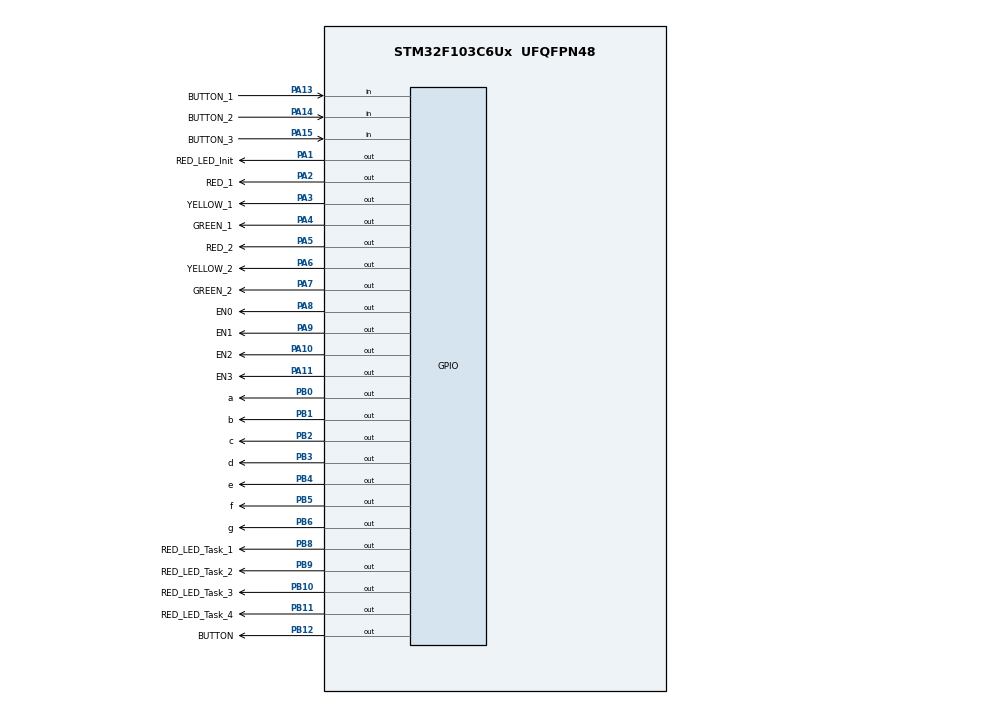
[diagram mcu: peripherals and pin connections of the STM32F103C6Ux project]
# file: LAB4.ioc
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Mcu.Family=STM32F1
Mcu.Name=STM32F103C6Ux
Mcu.Package=UFQFPN48
NVIC.PriorityGroup=NVIC_PRIORITYGROUP_4
NVIC.TIM2_IRQn=true\:0\:0\:false\:false\:true\:true\:true
PA1.GPIO_Label=RED_LED_Init
PA1.Signal=GPIO_Output
PA10.GPIO_Label=EN2
PA10.Signal=GPIO_Output
PA11.GPIO_Label=EN3
PA11.Signal=GPIO_Output
PA13.GPIO_Label=BUTTON_1
PA13.GPIO_PuPd=GPIO_PULLUP
PA13.Signal=GPIO_Input
PA14.GPIO_Label=BUTTON_2
PA14.GPIO_PuPd=GPIO_PULLUP
PA14.Signal=GPIO_Input
PA15.GPIO_Label=BUTTON_3
PA15.GPIO_PuPd=GPIO_PULLUP
PA15.Signal=GPIO_Input
PA2.GPIO_Label=RED_1
PA2.Signal=GPIO_Output
PA3.GPIO_Label=YELLOW_1
PA3.Signal=GPIO_Output
PA4.GPIO_Label=GREEN_1
PA4.Signal=GPIO_Output
PA5.GPIO_Label=RED_2
PA5.Signal=GPIO_Output
PA6.GPIO_Label=YELLOW_2
PA6.Signal=GPIO_Output
PA7.GPIO_Label=GREEN_2
PA7.Signal=GPIO_Output
PA8.GPIO_Label=EN0
PA8.Signal=GPIO_Output
PA9.GPIO_Label=EN1
PA9.Signal=GPIO_Output
PB0.GPIO_Label=a
PB0.Signal=GPIO_Output
PB1.GPIO_Label=b
PB1.Signal=GPIO_Output
PB10.GPIO_Label=RED_LED_Task_3
PB10.Signal=GPIO_Output
PB11.GPIO_Label=RED_LED_Task_4
PB11.Signal=GPIO_Output
PB12.GPIO_Label=BUTTON
PB12.Signal=GPIO_Output
PB2.GPIO_Label=c
PB2.Signal=GPIO_Output
PB3.GPIO_Label=d
PB3.Signal=GPIO_Output
PB4.GPIO_Label=e
PB4.Signal=GPIO_Output
PB5.GPIO_Label=f
PB5.Signal=GPIO_Output
PB6.GPIO_Label=g
PB6.Signal=GPIO_Output
PB8.GPIO_Label=RED_LED_Task_1
PB8.Signal=GPIO_Output
PB9.GPIO_Label=RED_LED_Task_2
PB9.Signal=GPIO_Output
ProjectManager.HeapSize=0x200
ProjectManager.StackSize=0x400
ProjectManager.TargetToolchain=STM32CubeIDE
RCC.APB1Freq_Value=8000000
RCC.APB2Freq_Value=8000000
TIM2.Period=7999
TIM2.Prescaler=9
VP_SYS_VS_ND.Mode=No_Debug
VP_TIM2_VS_ClockSourceINT.Mode=Internal
board=custom

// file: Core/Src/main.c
/* USER CODE BEGIN Header */
/**
  ******************************************************************************
  * @file           : main.c
  * @brief          : Main program body
  ******************************************************************************
  * @attention
  *
  * <h2><center>&copy; Copyright (c) 2024 STMicroelectronics.
  * All rights reserved.</center></h2>
  *
  * This software component is licensed by ST under BSD 3-Clause license,
  * the "License"; You may not use this file except in compliance with the
  * License. You may obtain a copy of the License at:
  *                        opensource.org/licenses/BSD-3-Clause
  *
  ******************************************************************************
  */
/* USER CODE END Header */
#include "main.h"

/* USER CODE BEGIN Includes */
#include "scheduler.h"
#include "softwaretimer.h"
#include "task.h"
#include "button.h"
/* USER CODE END Includes */

TIM_HandleTypeDef htim2;

void SystemClock_Config(void);
static void MX_GPIO_Init(void);
static void MX_TIM2_Init(void);

/* USER CODE BEGIN 0 */
#define LED_ON	0
#define LED_OFF	1
void INIT_LED_TEST(){
	HAL_GPIO_TogglePin(GPIOA, RED_LED_Init_Pin);
}
/* USER CODE END 0 */

int main(void)
{

  /* MCU Configuration--------------------------------------------------------*/

  /* Reset of all peripherals, Initializes the Flash interface and the Systick. */
  HAL_Init();

  /* Configure the system clock */
  SystemClock_Config();

  /* Initialize all configured peripherals */
  MX_GPIO_Init();
  MX_TIM2_Init();
  /* USER CODE BEGIN 2 */
  HAL_TIM_Base_Start_IT(&htim2);
  Task_Init();
  SCH_Init();
  HAL_GPIO_WritePin(GPIOA, RED_1_Pin|RED_2_Pin|YELLOW_1_Pin|YELLOW_2_Pin|GREEN_1_Pin|GREEN_2_Pin, LED_OFF);
//  SCH_Add_Task(INIT_LED_TEST, 10, 2000);
//  SCH_Add_Task(INIT_LED_TEST_1, 10, 5000);
//  SCH_Add_Task(Task_1, 100, 500);
//  SCH_Add_Task(Task_3, 100, 1500);
//  SCH_Add_Task(Task_5, 100, 2000);
//  //SCH_Add_Task(Task_4, 25, 2500);
//  SCH_Add_Task(Task_2, 100, 1000);

  SCH_Add_Task(fsm_setting_run, 0, 10);
  SCH_Add_Task(display_4SEG7, 239, 250);
  SCH_Add_Task(fsm_automatic_run, 0, 1000);
  SCH_Add_Task(fsm_manual_run_LED, 2, 997);

  //khong tinh 1 tick
//  setTimer(0, 1000);
  /* USER CODE END 2 */

  /* Infinite loop */
  /* USER CODE BEGIN WHILE */
//  setTimer(0, 1000);
  //comment 2 dòng dưới thì timer trong callback mới chạy ._.

  while (1)
  {
    /* USER CODE END WHILE */

    /* USER CODE BEGIN 3 */

//
//	  HAL_GPIO_WritePin(RED_LED_Task_4_GPIO_Port, RED_LED_Task_4_Pin, 0);
//	  if (isButtonPressed(0))
//		  HAL_GPIO_TogglePin(RED_LED_Task_4_GPIO_Port, RED_LED_Task_4_Pin);
//		  SCH_Add_Task(Task_4, 100, 0);
	  SCH_Dispatch_Tasks();
	  fsm_manual_run_button();
//	  fsm_manual_run();

//	  if (isTimerExpired(0)){
//		  setTimer(0, 1000);
//		  INIT_LED_TEST();
//	  }
  /* USER CODE END 3 */
}
}

void SystemClock_Config(void)
{
  RCC_OscInitTypeDef RCC_OscInitStruct = {0};
  RCC_ClkInitTypeDef RCC_ClkInitStruct = {0};

  /** Initializes the RCC Oscillators according to the specified parameters
  * in the RCC_OscInitTypeDef structure.
  */
  RCC_OscInitStruct.OscillatorType = RCC_OSCILLATORTYPE_HSI;
  RCC_OscInitStruct.HSIState = RCC_HSI_ON;
  RCC_OscInitStruct.HSICalibrationValue = RCC_HSICALIBRATION_DEFAULT;
  RCC_OscInitStruct.PLL.PLLState = RCC_PLL_NONE;
  if (HAL_RCC_OscConfig(&RCC_OscInitStruct) != HAL_OK)
  {
    Error_Handler();
  }
  /** Initializes the CPU, AHB and APB buses clocks
  */
  RCC_ClkInitStruct.ClockType = RCC_CLOCKTYPE_HCLK|RCC_CLOCKTYPE_SYSCLK
                              |RCC_CLOCKTYPE_PCLK1|RCC_CLOCKTYPE_PCLK2;
  RCC_ClkInitStruct.SYSCLKSource = RCC_SYSCLKSOURCE_HSI;
  RCC_ClkInitStruct.AHBCLKDivider = RCC_SYSCLK_DIV1;
  RCC_ClkInitStruct.APB1CLKDivider = RCC_HCLK_DIV1;
  RCC_ClkInitStruct.APB2CLKDivider = RCC_HCLK_DIV1;

  if (HAL_RCC_ClockConfig(&RCC_ClkInitStruct, FLASH_LATENCY_0) != HAL_OK)
  {
    Error_Handler();
  }
}

static void MX_TIM2_Init(void)
{

  TIM_ClockConfigTypeDef sClockSourceConfig = {0};
  TIM_MasterConfigTypeDef sMasterConfig = {0};

  htim2.Instance = TIM2;
  htim2.Init.Prescaler = 9;
  htim2.Init.CounterMode = TIM_COUNTERMODE_UP;
  htim2.Init.Period = 7999;
  htim2.Init.ClockDivision = TIM_CLOCKDIVISION_DIV1;
  htim2.Init.AutoReloadPreload = TIM_AUTORELOAD_PRELOAD_DISABLE;
  if (HAL_TIM_Base_Init(&htim2) != HAL_OK)
  {
    Error_Handler();
  }
  sClockSourceConfig.ClockSource = TIM_CLOCKSOURCE_INTERNAL;
  if (HAL_TIM_ConfigClockSource(&htim2, &sClockSourceConfig) != HAL_OK)
  {
    Error_Handler();
  }
  sMasterConfig.MasterOutputTrigger = TIM_TRGO_RESET;
  sMasterConfig.MasterSlaveMode = TIM_MASTERSLAVEMODE_DISABLE;
  if (HAL_TIMEx_MasterConfigSynchronization(&htim2, &sMasterConfig) != HAL_OK)
  {
    Error_Handler();
  }

}

static void MX_GPIO_Init(void)
{
  GPIO_InitTypeDef GPIO_InitStruct = {0};

  /* GPIO Ports Clock Enable */
  __HAL_RCC_GPIOA_CLK_ENABLE();
  __HAL_RCC_GPIOB_CLK_ENABLE();

  /*Configure GPIO pin Output Level */
  HAL_GPIO_WritePin(GPIOA, RED_LED_Init_Pin|RED_1_Pin|YELLOW_1_Pin|GREEN_1_Pin
                          |RED_2_Pin|YELLOW_2_Pin|GREEN_2_Pin|EN0_Pin
                          |EN1_Pin|EN2_Pin|EN3_Pin, GPIO_PIN_RESET);

  /*Configure GPIO pin Output Level */
  HAL_GPIO_WritePin(GPIOB, a_Pin|b_Pin|c_Pin|RED_LED_Task_3_Pin
                          |RED_LED_Task_4_Pin|BUTTON_Pin|d_Pin|e_Pin
                          |f_Pin|g_Pin|RED_LED_Task_1_Pin|RED_LED_Task_2_Pin, GPIO_PIN_RESET);

  /*Configure GPIO pins : RED_LED_Init_Pin RED_1_Pin YELLOW_1_Pin GREEN_1_Pin
                           RED_2_Pin YELLOW_2_Pin GREEN_2_Pin EN0_Pin
                           EN1_Pin EN2_Pin EN3_Pin */
  GPIO_InitStruct.Pin = RED_LED_Init_Pin|RED_1_Pin|YELLOW_1_Pin|GREEN_1_Pin
                          |RED_2_Pin|YELLOW_2_Pin|GREEN_2_Pin|EN0_Pin
                          |EN1_Pin|EN2_Pin|EN3_Pin;
  GPIO_InitStruct.Mode = GPIO_MODE_OUTPUT_PP;
  GPIO_InitStruct.Pull = GPIO_NOPULL;
  GPIO_InitStruct.Speed = GPIO_SPEED_FREQ_LOW;
  HAL_GPIO_Init(GPIOA, &GPIO_InitStruct);

  /*Configure GPIO pins : a_Pin b_Pin c_Pin RED_LED_Task_3_Pin
                           RED_LED_Task_4_Pin BUTTON_Pin d_Pin e_Pin
                           f_Pin g_Pin RED_LED_Task_1_Pin RED_LED_Task_2_Pin */
  GPIO_InitStruct.Pin = a_Pin|b_Pin|c_Pin|RED_LED_Task_3_Pin
                          |RED_LED_Task_4_Pin|BUTTON_Pin|d_Pin|e_Pin
                          |f_Pin|g_Pin|RED_LED_Task_1_Pin|RED_LED_Task_2_Pin;
  GPIO_InitStruct.Mode = GPIO_MODE_OUTPUT_PP;
  GPIO_InitStruct.Pull = GPIO_NOPULL;
  GPIO_InitStruct.Speed = GPIO_SPEED_FREQ_LOW;
  HAL_GPIO_Init(GPIOB, &GPIO_InitStruct);

  /*Configure GPIO pins : BUTTON_1_Pin BUTTON_2_Pin BUTTON_3_Pin */
  GPIO_InitStruct.Pin = BUTTON_1_Pin|BUTTON_2_Pin|BUTTON_3_Pin;
  GPIO_InitStruct.Mode = GPIO_MODE_INPUT;
  GPIO_InitStruct.Pull = GPIO_PULLUP;
  HAL_GPIO_Init(GPIOA, &GPIO_InitStruct);

}

/* USER CODE BEGIN 4 */
void HAL_TIM_PeriodElapsedCallback(TIM_HandleTypeDef *htim) {
//	timer_run();
	if(htim->Instance == TIM2) {
		SCH_Update();
		getInputKey();
	}
}
/* USER CODE END 4 */

void Error_Handler(void)
{
  __disable_irq();
  while (1)
  {
  }
}

/************************ (C) COPYRIGHT STMicroelectronics *****END OF FILE****/
